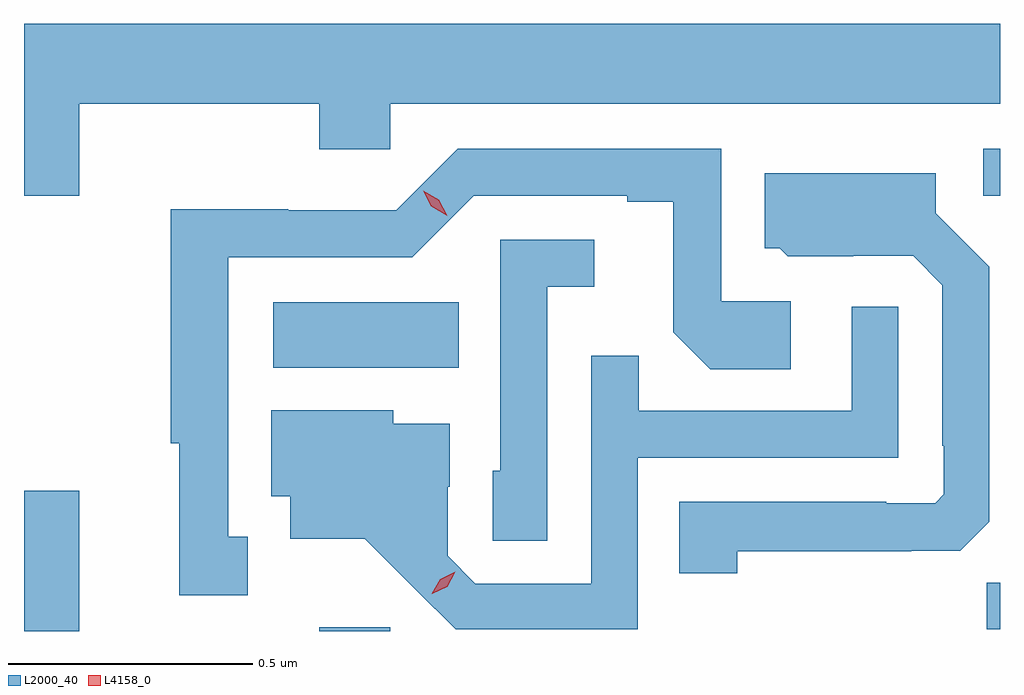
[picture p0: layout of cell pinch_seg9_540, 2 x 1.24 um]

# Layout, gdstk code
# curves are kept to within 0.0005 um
import gdstk
lib = gdstk.Library(unit=1e-6, precision=1e-09)
def R(c, l, rs):  # rectangles x0, y0, x1, y1
    for r in rs: c.add(gdstk.rectangle(r[:2], r[2:], *l))
def P(c, l, *ps):  # polygons
    for p in ps: c.add(gdstk.Polygon(p, *l))
L2000_40 = (2000, 40)
L4158_0 = (4158, 0)

pinch_seg9_540 = lib.new_cell('pinch_seg9_540')
R(pinch_seg9_540, L2000_40, [(308.915,1196.672,309.028,1196.959), (309.52,1196.672,309.666,1196.68), (310.888,1196.676,310.915,1196.771), (309.426,1197.212,309.806,1197.346), (310.881,1197.564,310.915,1197.66)])
P(pinch_seg9_540, L2000_40, [(309.028,1197.752),(309.52,1197.752),(309.52,1197.659),(309.666,1197.659),(309.666,1197.752),(310.915,1197.752),(310.915,1197.916),(308.915,1197.916),(308.915,1197.564),(309.028,1197.564)],
  [(309.373,1196.865),(309.334,1196.865),(309.334,1197.438),(309.711,1197.438),(309.837,1197.564),(310.151,1197.564),(310.151,1197.552),(310.245,1197.552),(310.245,1197.284),(310.321,1197.208),(310.486,1197.208),(310.486,1197.348),(310.344,1197.348),(310.344,1197.66),(309.804,1197.66),(309.678,1197.534),(309.456,1197.534),(309.456,1197.536),(309.216,1197.536),(309.216,1197.057),(309.233,1197.057),(309.233,1196.745),(309.373,1196.745)],
  [(310.377,1196.836),(310.733,1196.836),(310.733,1196.837),(310.834,1196.837),(310.893,1196.896),(310.893,1197.418),(310.783,1197.528),(310.783,1197.61),(310.433,1197.61),(310.433,1197.456),(310.464,1197.456),(310.48,1197.44),(310.614,1197.44),(310.614,1197.441),(310.737,1197.441),(310.797,1197.381),(310.797,1197.052),(310.8,1197.052),(310.8,1196.952),(310.782,1196.934),(310.682,1196.934),(310.682,1196.937),(310.258,1196.937),(310.258,1196.79),(310.377,1196.79)],
  [(309.987,1197.377),(310.084,1197.377),(310.084,1197.474),(309.891,1197.474),(309.891,1197),(309.876,1197),(309.876,1196.857),(309.987,1196.857)],
  [(310.173,1197.027),(310.707,1197.027),(310.707,1197.337),(310.611,1197.337),(310.611,1197.123),(310.175,1197.123),(310.175,1197.236),(310.077,1197.236),(310.077,1196.769),(309.84,1196.769),(309.783,1196.826),(309.783,1196.968),(309.787,1196.968),(309.787,1197.097),(309.672,1197.097),(309.672,1197.124),(309.422,1197.124),(309.422,1196.948),(309.461,1196.948),(309.461,1196.861),(309.613,1196.861),(309.8,1196.676),(310.173,1196.676)])
P(pinch_seg9_540, L4158_0, [(309.751,1196.748),(309.751,1196.748),(309.768,1196.778),(309.799,1196.793),(309.799,1196.793),(309.799,1196.793),(309.782,1196.763),(309.752,1196.748)],
  [(309.782,1197.523),(309.75,1197.542),(309.733,1197.574),(309.733,1197.574),(309.733,1197.574),(309.765,1197.556),(309.782,1197.523),(309.782,1197.523)])

lib.write_gds('pinch_seg9_540.gds')
